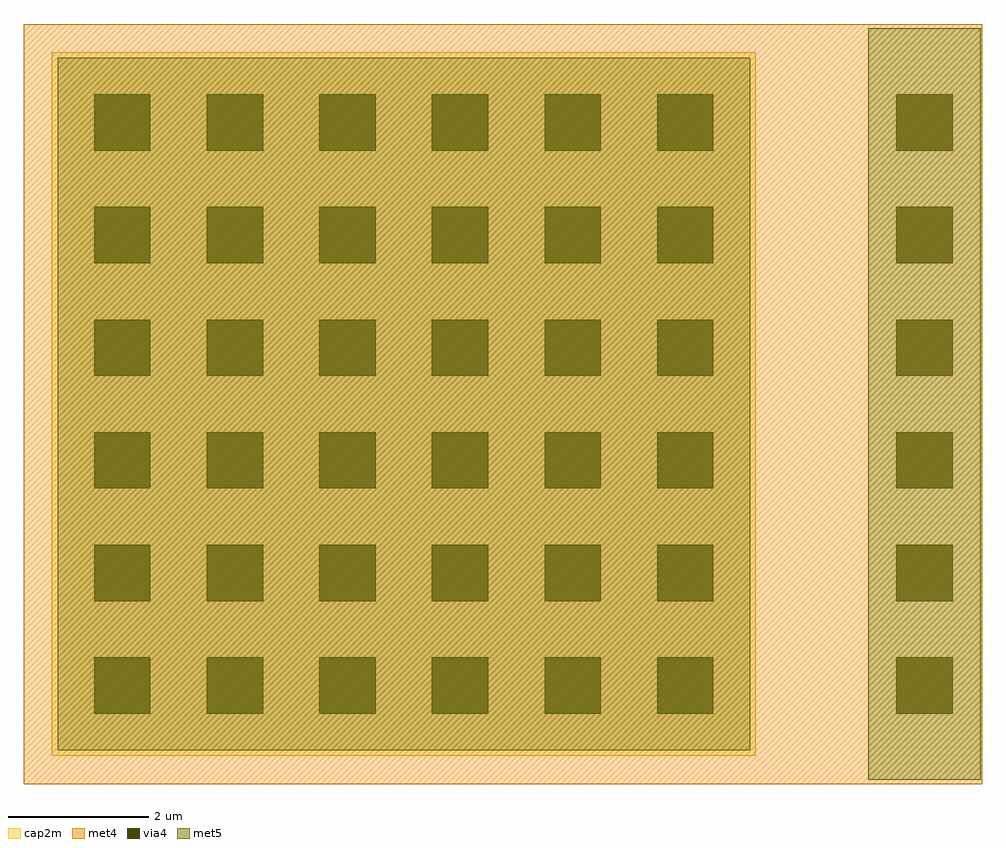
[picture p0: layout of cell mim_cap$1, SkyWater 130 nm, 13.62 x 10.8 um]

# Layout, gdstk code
import gdstk
lib = gdstk.Library(unit=1e-6, precision=5e-09)
def R(c, l, rs):  # rectangles x0, y0, x1, y1
    for r in rs: c.add(gdstk.rectangle(r[:2], r[2:], *l))
def A(c, l, x, y, w, h, nx, ny, dx, dy):  # array of equal rectangles
    R(c, l, [(x+i*dx, y+j*dy, x+i*dx+w, y+j*dy+h) for i in range(nx) for j in range(ny)])
met4 = (71, 20)
via4 = (71, 44)
met5 = (72, 20)
cap2m = (97, 44)

mim_cap_1 = lib.new_cell('mim_cap$1')
R(mim_cap_1, met4, [(-0.4,-0.4,13.22,10.4)])
A(mim_cap_1, via4, 0.6, 0.6, 0.8, 0.8, 6, 6, 1.6, 1.6)
A(mim_cap_1, via4, 12, 0.6, 0.8, 0.8, 1, 6, 0, 1.6)
R(mim_cap_1, met5, [(11.6,-0.34,13.2,10.34), (0.08,0.08,9.92,9.92)])
R(mim_cap_1, cap2m, [(0,0,10,10)])

lib.write_gds('mim_cap_1.gds')
